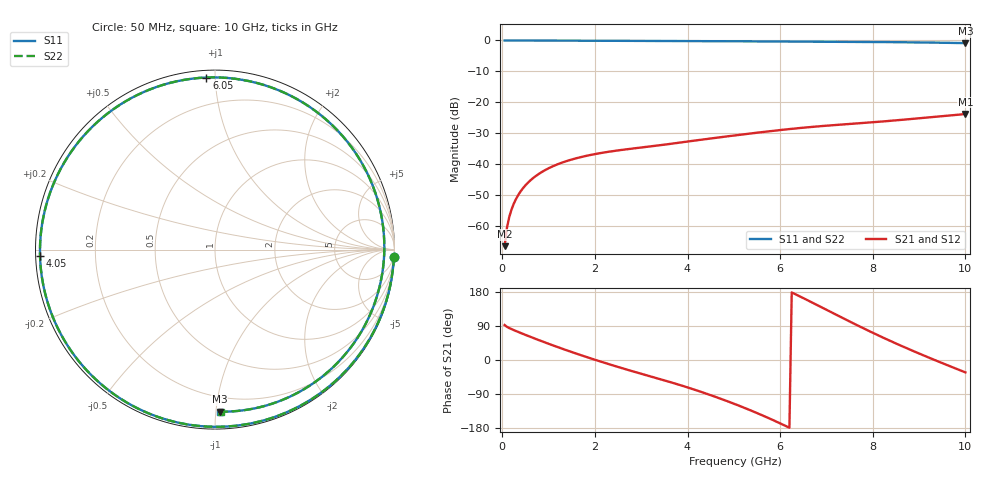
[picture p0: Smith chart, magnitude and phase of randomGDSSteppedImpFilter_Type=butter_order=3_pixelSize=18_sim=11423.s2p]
! freq	dB(S11)	phase(S11)	dB(S12)	phase(S12)
!  dB(S21)	phase(S21)	dB(S22)	phase(S22)
!S-par simulation data
#  GHz  S  DB  R 50
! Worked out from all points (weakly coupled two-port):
!   200 points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, 50 MHz to 10 GHz, reference 50 ohm
!   highest |S21| = -23.87 dB at 10 GHz (marker M1); lowest = -66.7 dB at 50 MHz (marker M2)
!   lowest |S11| = -0.9 dB at 10 GHz (marker M3), VSWR 19.72, Z = 5.22 - j51.3 ohm
!   |S11| at or under -10 dB: nowhere
!   |S22| runs from -0.9 to 0.0 dB; largest |S21 - S12| = 0
!   S11 on the Smith chart (normalised r, x): 50 MHz: 2, -49; 4.05 GHz: 0.01, -0.02; 6.05 GHz: 0.04, +0.95; 10 GHz: 0.10, -1.03
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0.05  -0.02 -2.3  -66.68 92.3  -66.68 92.3  -0.02 -2.3
0.1  -0.02 -4.8  -60.74 87.5  -60.74 87.5  -0.02 -4.7
0.2  -0.03 -9.6  -54.76 81.5  -54.76 81.5  -0.03 -9.6
0.35  -0.03 -16.8  -49.97 73.7  -49.97 73.7  -0.03 -16.8
0.5  -0.04 -24.0  -46.96 66.3  -46.96 66.3  -0.04 -24.0
0.8  -0.05 -38.2  -43.14 52.0  -43.14 52.0  -0.05 -38.2
1.15  -0.07 -54.5  -40.41 36.1  -40.41 36.1  -0.07 -54.5
1.75  -0.10 -81.5  -37.62 10.6  -37.62 10.6  -0.10 -81.5
2.5  -0.14 -113.8  -35.64 -18.4  -35.64 -18.4  -0.14 -113.8
3.4  -0.18 -151.1  -33.98 -50.3  -33.98 -50.3  -0.18 -151.1
4.05  -0.22 -178.0  -32.67 -74.3  -32.67 -74.3  -0.22 -177.9
4.55  -0.25 160.9  -31.68 -94.9  -31.68 -94.9  -0.25 161.0
5.05  -0.28 139.1  -30.73 -117.6  -30.73 -117.6  -0.28 139.2
5.6  -0.32 114.1  -29.73 -145.2  -29.73 -145.2  -0.32 114.3
6.05  -0.35 92.9  -28.97 -170.0  -28.97 -170.0  -0.35 93.1
6.7  -0.40 61.2  -28.01 151.1  -28.01 151.1  -0.40 61.4
7.15  -0.43 39.0  -27.47 123.2  -27.47 123.2  -0.43 39.3
7.55  -0.47 19.5  -27.02 98.6  -27.02 98.6  -0.47 19.7
7.95  -0.51 0.3  -26.58 74.7  -26.58 74.7  -0.50 0.6
8.35  -0.55 -18.2  -26.10 51.9  -26.10 51.9  -0.55 -17.9
9.2  -0.69 -55.4  -24.94 6.9  -24.94 6.9  -0.69 -55.1
10  -0.88 -88.3  -23.87 -32.7  -23.87 -32.7  -0.88 -88.0
